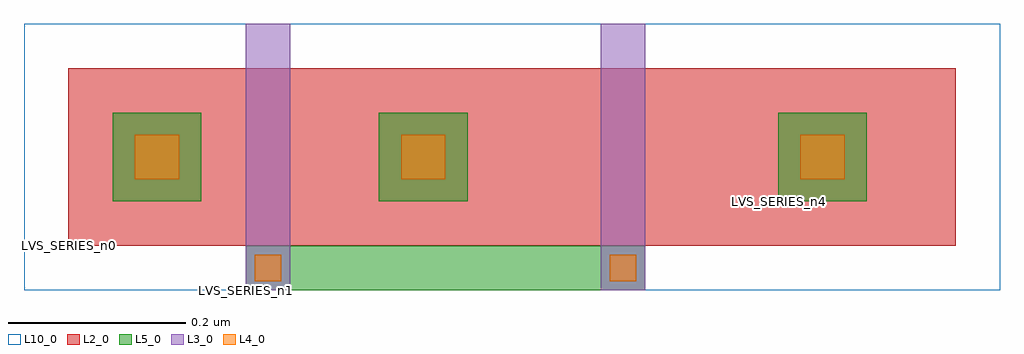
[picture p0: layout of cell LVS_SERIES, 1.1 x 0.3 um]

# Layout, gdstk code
import gdstk
lib = gdstk.Library(unit=1e-6, precision=1e-09)
def R(c, l, rs):  # rectangles x0, y0, x1, y1
    for r in rs: c.add(gdstk.rectangle(r[:2], r[2:], *l))
L2_0 = (2, 0)
L3_0 = (3, 0)
L4_0 = (4, 0)
L5_0 = (5, 0)
L10_0 = (10, 0)

lvs_series = lib.new_cell('LVS_SERIES')
R(lvs_series, L2_0, [(0,0,1,0.2)])
R(lvs_series, L3_0, [(0.2,-0.05,0.25,0.25), (0.6,-0.05,0.65,0.25)])
R(lvs_series, L4_0, [(0.21,-0.04,0.24,-0.01), (0.61,-0.04,0.64,-0.01), (0.075,0.075,0.125,0.125), (0.375,0.075,0.425,0.125), (0.825,0.075,0.875,0.125)])
R(lvs_series, L5_0, [(0.2,-0.05,0.65,0), (0.05,0.05,0.15,0.15), (0.35,0.05,0.45,0.15), (0.8,0.05,0.9,0.15)])
R(lvs_series, L10_0, [(-0.05,-0.05,1.05,0.25)])
lvs_series.add(gdstk.Label('LVS_SERIES_n0', (0,0), layer=2, texttype=5))
lvs_series.add(gdstk.Label('LVS_SERIES_n1', (0.2,-0.05), layer=5, texttype=5))
lvs_series.add(gdstk.Label('LVS_SERIES_n4', (0.8,0.05), layer=5, texttype=5))

lib.write_gds('LVS_SERIES.gds')
